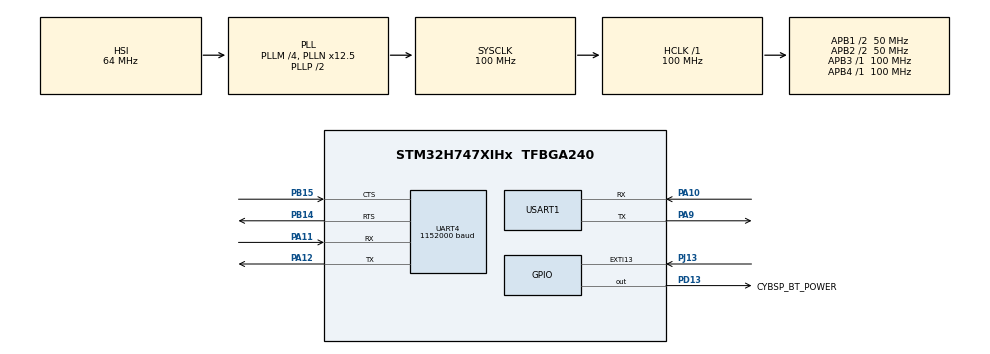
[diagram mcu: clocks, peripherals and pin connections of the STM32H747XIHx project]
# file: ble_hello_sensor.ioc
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CORTEX_M7.CPU_DCache=Enabled
CORTEX_M7.CPU_ICache=Enabled
CortexM4.IPs=BDMA,DMA,FATFS_M4\:I,FREERTOS_M4\:I,IWDG2\:I,MDMA,NVIC2\:I,RCC,USB_DEVICE_M4\:I,USB_HOST_M4\:I,WWDG2\:I,DEBUG,PDM2PCM_M4\:I,PWR,RESMGR_UTILITY,SYS_M4\:I,CORTEX_M4\:I,OPENAMP_M4\:I,VREFBUF,GPIO
CortexM7.IPs=BDMA\:I,DMA\:I,FATFS_M7\:I,FREERTOS_M7\:I,IWDG1\:I,MDMA\:I,NVIC1\:I,RCC\:I,USB_DEVICE_M7\:I,USB_HOST_M7\:I,WWDG1\:I,CORTEX_M7\:I,DEBUG\:I,PDM2PCM_M7\:I,PWR\:I,RESMGR_UTILITY\:I,SYS\:I,OPENAMP_M7\:I,VREFBUF\:I,Infineon.AIROC-Wi-Fi-Bluetooth-STM32.1.8.0_M7\:I,LPTIM1\:I,UART4\:I,USART1\:I,TIM6\:I,GPIO\:I
CortexM7.Pins=PD13
Dma.Request0=UART4_RX
Dma.Request1=UART4_TX
Dma.UART4_RX.0.Direction=DMA_PERIPH_TO_MEMORY
Dma.UART4_RX.0.EventEnable=DISABLE
Dma.UART4_RX.0.FIFOMode=DMA_FIFOMODE_DISABLE
Dma.UART4_RX.0.Instance=DMA1_Stream2
Dma.UART4_RX.0.MemDataAlignment=DMA_MDATAALIGN_BYTE
Dma.UART4_RX.0.MemInc=DMA_MINC_ENABLE
Dma.UART4_RX.0.Mode=DMA_NORMAL
Dma.UART4_RX.0.PeriphDataAlignment=DMA_PDATAALIGN_BYTE
Dma.UART4_RX.0.PeriphInc=DMA_PINC_DISABLE
Dma.UART4_RX.0.Polarity=HAL_DMAMUX_REQ_GEN_RISING
Dma.UART4_RX.0.Priority=DMA_PRIORITY_LOW
Dma.UART4_RX.0.RequestNumber=1
Dma.UART4_RX.0.SignalID=NONE
Dma.UART4_RX.0.SyncEnable=DISABLE
Dma.UART4_RX.0.SyncPolarity=HAL_DMAMUX_SYNC_NO_EVENT
Dma.UART4_RX.0.SyncRequestNumber=1
Dma.UART4_RX.0.SyncSignalID=NONE
Dma.UART4_TX.1.Direction=DMA_MEMORY_TO_PERIPH
Dma.UART4_TX.1.EventEnable=DISABLE
Dma.UART4_TX.1.FIFOMode=DMA_FIFOMODE_DISABLE
Dma.UART4_TX.1.Instance=DMA1_Stream3
Dma.UART4_TX.1.MemDataAlignment=DMA_MDATAALIGN_BYTE
Dma.UART4_TX.1.MemInc=DMA_MINC_ENABLE
Dma.UART4_TX.1.Mode=DMA_NORMAL
Dma.UART4_TX.1.PeriphDataAlignment=DMA_PDATAALIGN_BYTE
Dma.UART4_TX.1.PeriphInc=DMA_PINC_DISABLE
Dma.UART4_TX.1.Polarity=HAL_DMAMUX_REQ_GEN_RISING
Dma.UART4_TX.1.Priority=DMA_PRIORITY_LOW
Dma.UART4_TX.1.RequestNumber=1
Dma.UART4_TX.1.SignalID=NONE
Dma.UART4_TX.1.SyncEnable=DISABLE
Dma.UART4_TX.1.SyncPolarity=HAL_DMAMUX_SYNC_NO_EVENT
Dma.UART4_TX.1.SyncRequestNumber=1
Dma.UART4_TX.1.SyncSignalID=NONE
FREERTOS_M7.Tasks01=defaultTask,24,128,StartDefaultTask,Default,NULL,Dynamic,NULL,NULL
Infineon.AIROC-Wi-Fi-Bluetooth-STM32.1.8.0_M7.CYBSP_BT_HOST_WAKE=PB8
Infineon.AIROC-Wi-Fi-Bluetooth-STM32.1.8.0_M7.CYBSP_BT_POWER=PD13
Infineon.AIROC-Wi-Fi-Bluetooth-STM32.1.8.0_M7.CYBSP_BT_UART_CTS=PB15
Infineon.AIROC-Wi-Fi-Bluetooth-STM32.1.8.0_M7.CYBSP_BT_UART_RTS=PB14
Infineon.AIROC-Wi-Fi-Bluetooth-STM32.1.8.0_M7.CYBSP_BT_UART_RX=PA11
Infineon.AIROC-Wi-Fi-Bluetooth-STM32.1.8.0_M7.CYBSP_BT_UART_TX=PA12
Infineon.AIROC-Wi-Fi-Bluetooth-STM32.1.8.0_M7.ConnectivityCcWirelessJjBluetoothJjbtstack=BLEIiHARDFP
Infineon.AIROC-Wi-Fi-Bluetooth-STM32.1.8.0_M7.ConnectivityCcWirelessJjBluetoothJjbtstackAaintegration=true
Infineon.AIROC-Wi-Fi-Bluetooth-STM32.1.8.0_M7.ConnectivityCcWirelessJjPlatformJjabstractionAartos=FreeRTOS
Infineon.AIROC-Wi-Fi-Bluetooth-STM32.1.8.0_M7.ConnectivityCcWirelessJjPlatformJjdevice=CYW43012
Infineon.AIROC-Wi-Fi-Bluetooth-STM32.1.8.0_M7.ConnectivityCcWirelessJjPlatformJjmodule=MURATAAa1LV
Infineon.AIROC-Wi-Fi-Bluetooth-STM32.1.8.0_M7.ConnectivityCcWirelessJjPlatformJjpal=true
Infineon.AIROC-Wi-Fi-Bluetooth-STM32.1.8.0_M7.ConnectivityCcWirelessJjPlatformJjwifiAanvramAaconfiguration=MURATAAa1LV
Mcu.Family=STM32H7
Mcu.Name=STM32H747XIHx
Mcu.Package=TFBGA240
NVIC1.DMA1_Stream2_IRQn=true\:6\:0\:true\:false\:true\:true\:false\:true\:true
NVIC1.DMA1_Stream3_IRQn=true\:6\:0\:true\:false\:true\:true\:false\:true\:true
NVIC1.LPTIM1_IRQn=true\:5\:0\:false\:false\:true\:true\:true\:true\:true
NVIC1.PriorityGroup=NVIC_PRIORITYGROUP_4
NVIC1.TIM6_DAC_IRQn=true\:0\:0\:false\:false\:true\:false\:false\:true\:true
NVIC1.TimeBase=TIM6_DAC_IRQn
NVIC1.TimeBaseIP=TIM6
NVIC1.UART4_IRQn=true\:5\:0\:false\:false\:true\:true\:true\:true\:true
NVIC2.PriorityGroup=NVIC_PRIORITYGROUP_4
PA0.PinAttribute=CortexM7
PA0.Signal=USART2_CTS
PA10.Mode=Asynchronous
PA10.PinAttribute=CortexM7
PA10.Signal=USART1_RX
PA11.Mode=Asynchronous
PA11.PinAttribute=CortexM7
PA11.Signal=UART4_RX
PA12.Mode=Asynchronous
PA12.PinAttribute=CortexM7
PA12.Signal=UART4_TX
PA13\ (JTMS/SWDIO).Mode=Serial_Wire
PA13\ (JTMS/SWDIO).PinAttribute=CortexM7
PA13\ (JTMS/SWDIO).Signal=DEBUG_JTMS-SWDIO
PA14\ (JTCK/SWCLK).Mode=Serial_Wire
PA14\ (JTCK/SWCLK).PinAttribute=CortexM7
PA14\ (JTCK/SWCLK).Signal=DEBUG_JTCK-SWCLK
PA9.Mode=Asynchronous
PA9.PinAttribute=CortexM7
PA9.Signal=USART1_TX
PB14.Mode=CTS_RTS
PB14.PinAttribute=CortexM7
PB14.Signal=UART4_RTS
PB15.Mode=CTS_RTS
PB15.PinAttribute=CortexM7
PB15.Signal=UART4_CTS
PC14-OSC32_IN\ (OSC32_IN).Mode=LSE-External-Oscillator
PC14-OSC32_IN\ (OSC32_IN).PinAttribute=CortexM7
PC14-OSC32_IN\ (OSC32_IN).Signal=RCC_OSC32_IN
PC15-OSC32_OUT\ (OSC32_OUT).Mode=LSE-External-Oscillator
PC15-OSC32_OUT\ (OSC32_OUT).PinAttribute=CortexM7
PC15-OSC32_OUT\ (OSC32_OUT).Signal=RCC_OSC32_OUT
PD13.GPIO_Label=CYBSP_BT_POWER
PD13.GPIO_ModeDefaultOutputPP=GPIO_MODE_OUTPUT_PP
PD13.PinAttribute=CortexM7
PD13.Signal=GPIO_Output
PH0-OSC_IN\ (PH0).Mode=HSE-External-Oscillator
PH0-OSC_IN\ (PH0).PinAttribute=CortexM7
PH0-OSC_IN\ (PH0).Signal=RCC_OSC_IN
PH1-OSC_OUT\ (PH1).Mode=HSE-External-Oscillator
PH1-OSC_OUT\ (PH1).PinAttribute=CortexM7
PH1-OSC_OUT\ (PH1).Signal=RCC_OSC_OUT
PJ13.PinAttribute=Free
PJ13.Signal=GPXTI13
PJ8.PinAttribute=CortexM4
PJ8.Signal=UART8_TX
PJ9.PinAttribute=CortexM4
PJ9.Signal=UART8_RX
ProjectManager.HeapSize=M4-0x100,M7-0x9000
ProjectManager.StackSize=M4-0x100,M7-0x800
ProjectManager.TargetToolchain=STM32CubeIDE
RCC.ADCFreq_Value=75000000
RCC.APB1Freq_Value=50000000
RCC.APB2Freq_Value=50000000
RCC.APB3Freq_Value=100000000
RCC.APB4Freq_Value=100000000
RCC.CortexFreq_Value=100000000
RCC.D2PPRE1=RCC_APB1_DIV2
RCC.D2PPRE2=RCC_APB2_DIV2
RCC.DIVM1=4
RCC.DIVM2=4
RCC.DIVN1=12
RCC.DIVN2=9
RCC.DIVQ1=6
RCC.DIVQ2=3
RCC.DIVR2=3
RCC.FLatency-AdvancedSettings=FLASH_LATENCY_0
RCC.HCLKFreq_Value=100000000
RCC.HSE_VALUE=25000000
RCC.HSIKERON=false
RCC.LPTIM1CLockSelection=RCC_LPTIM1CLKSOURCE_LSE
RCC.MSIAutoCalibration=DISABLED
RCC.MSICalibrationValue=16
RCC.MSIKERON=false
RCC.MSIPLLFAST=false
RCC.PLL1MBOOST=RCC_PLLMBOOST_DIV1
RCC.PLL1_VCI_Range-AdvancedSettings=RCC_PLL1VCIRANGE_0
RCC.PLL1_VCO_SEL-AdvancedSettings=RCC_PLL1VCOMEDIUM
RCC.PLL2FRACN=3072
RCC.PLL2_VCI_Range-AdvancedSettings=RCC_PLL2VCIRANGE_1
RCC.PLL2_VCO_SEL-AdvancedSettings=RCC_PLL2VCOMEDIUM
RCC.PLL3FRACN=0
RCC.PLL3_VCI_Range-AdvancedSettings=RCC_PLL3VCIRANGE_0
RCC.PLL3_VCO_SEL-AdvancedSettings=RCC_PLL3VCOMEDIUM
RCC.PLLFRACN=4096
RCC.SDMMC1CLockSelection=RCC_SDMMCCLKSOURCE_PLL2
RCC.SYSCLKFreq_VALUE=100000000
RCC.SYSCLKSource=RCC_SYSCLKSOURCE_PLLCLK
RCC.SupplySource=PWR_DIRECT_SMPS_SUPPLY
RCC.USBFreq_Value=33333333.333333332
UART4.BaudRate=1152000
UART4.FIFOMode=FIFOMODE_DISABLE
USART1.VirtualMode-Asynchronous=VM_ASYNC
VP_FREERTOS_M7_VS_CMSIS_V2.Mode=CMSIS_V2
VP_Infineon.AIROC-Wi-Fi-Bluetooth-STM32_M7_VS_WirelessJjConnectivity_1.8.0_1.8.0.Mode=WirelessJjConnectivity
VP_LPTIM1_VS_LPTIM_counterModeInternalClock.Mode=Counts__internal_clock_event_00
VP_SYS_M4_VS_Systick.Mode=SysTick
VP_SYS_VS_tim6.Mode=TIM6
board=STM32H747I-DISCO

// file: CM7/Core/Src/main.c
/* USER CODE BEGIN Header */
/**
  ******************************************************************************
  * @file           : main.c
  * @brief          : Main program body
  ******************************************************************************
  * @attention
  *
  * <h2><center>&copy; Copyright (c) 2021 STMicroelectronics.
  * All rights reserved.</center></h2>
  *
  * This software component is licensed by ST under Ultimate Liberty license
  * SLA0044, the "License"; You may not use this file except in compliance with
  * the License. You may obtain a copy of the License at:
  *                             www.st.com/SLA0044
  *
  ******************************************************************************
  */
/* USER CODE END Header */
#include "main.h"
#include "cmsis_os.h"

/* USER CODE BEGIN Includes */
#include "cyhal_sdio.h"
#include "stm32_cyhal_sdio_ex.h"
#include "stm32_cyhal_gpio_ex.h"

#include "wifi_bt_if.h"

#include "cybsp.h"
#include "cyhal.h"
#include "cyabs_rtos.h"

#include "wiced_bt_stack.h"
#include "wiced_memory.h"
#include "wiced_bt_dev.h"

#include <app_platform_cfg.h>
#include "cybt_platform_trace.h"

#include "cy_utils.h"
#include "stdio.h"

/* USER CODE END Includes */

/* USER CODE BEGIN PD */
#ifndef HSEM_ID_0
#define HSEM_ID_0 (0U) /* HW semaphore 0*/
#endif
/* USER CODE END PD */

LPTIM_HandleTypeDef hlptim1;

UART_HandleTypeDef huart4;
UART_HandleTypeDef huart1;
DMA_HandleTypeDef hdma_uart4_rx;
DMA_HandleTypeDef hdma_uart4_tx;

/* Definitions for defaultTask */
osThreadId_t defaultTaskHandle;
const osThreadAttr_t defaultTask_attributes = {
  .name = "defaultTask",
  .stack_size = 128 * 4,
  .priority = (osPriority_t) osPriorityNormal,
};

void SystemClock_Config(void);
static void MX_GPIO_Init(void);
static void MX_DMA_Init(void);
static void MX_LPTIM1_Init(void);
static void MX_UART4_Init(void);
static void MX_USART1_UART_Init(void);
void StartDefaultTask(void *argument);

/* USER CODE BEGIN PFP */
extern void application_start( void );

/* USER CODE END PFP */

int main(void)
{
/* USER CODE BEGIN Boot_Mode_Sequence_0 */
  int32_t timeout;
/* USER CODE END Boot_Mode_Sequence_0 */

  /* Enable I-Cache---------------------------------------------------------*/
  SCB_EnableICache();

  /* Enable D-Cache---------------------------------------------------------*/
  SCB_EnableDCache();

/* USER CODE BEGIN Boot_Mode_Sequence_1 */
  /* Wait until CPU2 boots and enters in stop mode or timeout*/
  timeout = 0xFFFF;
  while((__HAL_RCC_GET_FLAG(RCC_FLAG_D2CKRDY) != RESET) && (timeout-- > 0));
  if ( timeout < 0 )
  {
  Error_Handler();
  }
/* USER CODE END Boot_Mode_Sequence_1 */
  /* MCU Configuration--------------------------------------------------------*/

  /* Reset of all peripherals, Initializes the Flash interface and the Systick. */
  HAL_Init();

  /* Configure the system clock */
  SystemClock_Config();
/* USER CODE BEGIN Boot_Mode_Sequence_2 */
/* When system initialization is finished, Cortex-M7 will release Cortex-M4 by means of
HSEM notification */
/*HW semaphore Clock enable*/
__HAL_RCC_HSEM_CLK_ENABLE();
/*Take HSEM */
HAL_HSEM_FastTake(HSEM_ID_0);
/*Release HSEM in order to notify the CPU2(CM4)*/
HAL_HSEM_Release(HSEM_ID_0,0);
/* wait until CPU2 wakes up from stop mode */
timeout = 0xFFFF;
while((__HAL_RCC_GET_FLAG(RCC_FLAG_D2CKRDY) == RESET) && (timeout-- > 0));
if ( timeout < 0 )
{
Error_Handler();
}
/* USER CODE END Boot_Mode_Sequence_2 */

  /* Initialize all configured peripherals */
  MX_GPIO_Init();
  MX_DMA_Init();
  MX_LPTIM1_Init();
  MX_UART4_Init();
  MX_USART1_UART_Init();
  /* USER CODE BEGIN 2 */

  /* PAL init */
  stm32_cypal_bt_init(&huart4, &hlptim1);

  /* configure BLE Platform */
  cybt_platform_config_init(&bt_platform_cfg_settings);

  /* Start BLE application */
  application_start();

  /* USER CODE END 2 */

  /* Init scheduler */
  osKernelInitialize();

  /* Create the thread(s) */
  /* creation of defaultTask */
  defaultTaskHandle = osThreadNew(StartDefaultTask, NULL, &defaultTask_attributes);

  /* Start scheduler */
  osKernelStart();
  /* We should never get here as control is now taken by the scheduler */
  /* Infinite loop */
  while (1)
  {

  }
}

void SystemClock_Config(void)
{
  RCC_OscInitTypeDef RCC_OscInitStruct = {0};
  RCC_ClkInitTypeDef RCC_ClkInitStruct = {0};

  /** Supply configuration update enable
  */
  HAL_PWREx_ConfigSupply(PWR_DIRECT_SMPS_SUPPLY);

  /** Configure the main internal regulator output voltage
  */
  __HAL_PWR_VOLTAGESCALING_CONFIG(PWR_REGULATOR_VOLTAGE_SCALE3);

  while(!__HAL_PWR_GET_FLAG(PWR_FLAG_VOSRDY)) {}

  /** Configure LSE Drive Capability
  */
  HAL_PWR_EnableBkUpAccess();
  __HAL_RCC_LSEDRIVE_CONFIG(RCC_LSEDRIVE_LOW);

  /** Initializes the RCC Oscillators according to the specified parameters
  * in the RCC_OscInitTypeDef structure.
  */
  RCC_OscInitStruct.OscillatorType = RCC_OSCILLATORTYPE_HSI|RCC_OSCILLATORTYPE_LSE;
  RCC_OscInitStruct.LSEState = RCC_LSE_ON;
  RCC_OscInitStruct.HSIState = RCC_HSI_DIV1;
  RCC_OscInitStruct.HSICalibrationValue = RCC_HSICALIBRATION_DEFAULT;
  RCC_OscInitStruct.PLL.PLLState = RCC_PLL_ON;
  RCC_OscInitStruct.PLL.PLLSource = RCC_PLLSOURCE_HSI;
  RCC_OscInitStruct.PLL.PLLM = 4;
  RCC_OscInitStruct.PLL.PLLN = 12;
  RCC_OscInitStruct.PLL.PLLP = 2;
  RCC_OscInitStruct.PLL.PLLQ = 6;
  RCC_OscInitStruct.PLL.PLLR = 2;
  RCC_OscInitStruct.PLL.PLLRGE = RCC_PLL1VCIRANGE_3;
  RCC_OscInitStruct.PLL.PLLVCOSEL = RCC_PLL1VCOMEDIUM;
  RCC_OscInitStruct.PLL.PLLFRACN = 4096;
  if (HAL_RCC_OscConfig(&RCC_OscInitStruct) != HAL_OK)
  {
    Error_Handler();
  }

  /** Initializes the CPU, AHB and APB buses clocks
  */
  RCC_ClkInitStruct.ClockType = RCC_CLOCKTYPE_HCLK|RCC_CLOCKTYPE_SYSCLK
                              |RCC_CLOCKTYPE_PCLK1|RCC_CLOCKTYPE_PCLK2
                              |RCC_CLOCKTYPE_D3PCLK1|RCC_CLOCKTYPE_D1PCLK1;
  RCC_ClkInitStruct.SYSCLKSource = RCC_SYSCLKSOURCE_PLLCLK;
  RCC_ClkInitStruct.SYSCLKDivider = RCC_SYSCLK_DIV1;
  RCC_ClkInitStruct.AHBCLKDivider = RCC_HCLK_DIV1;
  RCC_ClkInitStruct.APB3CLKDivider = RCC_APB3_DIV1;
  RCC_ClkInitStruct.APB1CLKDivider = RCC_APB1_DIV2;
  RCC_ClkInitStruct.APB2CLKDivider = RCC_APB2_DIV2;
  RCC_ClkInitStruct.APB4CLKDivider = RCC_APB4_DIV1;

  if (HAL_RCC_ClockConfig(&RCC_ClkInitStruct, FLASH_LATENCY_2) != HAL_OK)
  {
    Error_Handler();
  }
}

static void MX_LPTIM1_Init(void)
{

  hlptim1.Instance = LPTIM1;
  hlptim1.Init.Clock.Source = LPTIM_CLOCKSOURCE_APBCLOCK_LPOSC;
  hlptim1.Init.Clock.Prescaler = LPTIM_PRESCALER_DIV1;
  hlptim1.Init.Trigger.Source = LPTIM_TRIGSOURCE_SOFTWARE;
  hlptim1.Init.OutputPolarity = LPTIM_OUTPUTPOLARITY_HIGH;
  hlptim1.Init.UpdateMode = LPTIM_UPDATE_IMMEDIATE;
  hlptim1.Init.CounterSource = LPTIM_COUNTERSOURCE_INTERNAL;
  hlptim1.Init.Input1Source = LPTIM_INPUT1SOURCE_GPIO;
  hlptim1.Init.Input2Source = LPTIM_INPUT2SOURCE_GPIO;
  if (HAL_LPTIM_Init(&hlptim1) != HAL_OK)
  {
    Error_Handler();
  }

}

static void MX_UART4_Init(void)
{

  huart4.Instance = UART4;
  huart4.Init.BaudRate = 1152000;
  huart4.Init.WordLength = UART_WORDLENGTH_8B;
  huart4.Init.StopBits = UART_STOPBITS_1;
  huart4.Init.Parity = UART_PARITY_NONE;
  huart4.Init.Mode = UART_MODE_TX_RX;
  huart4.Init.HwFlowCtl = UART_HWCONTROL_RTS_CTS;
  huart4.Init.OverSampling = UART_OVERSAMPLING_16;
  huart4.Init.OneBitSampling = UART_ONE_BIT_SAMPLE_DISABLE;
  huart4.Init.ClockPrescaler = UART_PRESCALER_DIV1;
  huart4.AdvancedInit.AdvFeatureInit = UART_ADVFEATURE_NO_INIT;
  if (HAL_UART_Init(&huart4) != HAL_OK)
  {
    Error_Handler();
  }
  if (HAL_UARTEx_SetTxFifoThreshold(&huart4, UART_TXFIFO_THRESHOLD_1_8) != HAL_OK)
  {
    Error_Handler();
  }
  if (HAL_UARTEx_SetRxFifoThreshold(&huart4, UART_RXFIFO_THRESHOLD_1_8) != HAL_OK)
  {
    Error_Handler();
  }
  if (HAL_UARTEx_DisableFifoMode(&huart4) != HAL_OK)
  {
    Error_Handler();
  }

}

static void MX_USART1_UART_Init(void)
{

  huart1.Instance = USART1;
  huart1.Init.BaudRate = 115200;
  huart1.Init.WordLength = UART_WORDLENGTH_8B;
  huart1.Init.StopBits = UART_STOPBITS_1;
  huart1.Init.Parity = UART_PARITY_NONE;
  huart1.Init.Mode = UART_MODE_TX_RX;
  huart1.Init.HwFlowCtl = UART_HWCONTROL_NONE;
  huart1.Init.OverSampling = UART_OVERSAMPLING_16;
  huart1.Init.OneBitSampling = UART_ONE_BIT_SAMPLE_DISABLE;
  huart1.Init.ClockPrescaler = UART_PRESCALER_DIV1;
  huart1.AdvancedInit.AdvFeatureInit = UART_ADVFEATURE_NO_INIT;
  if (HAL_UART_Init(&huart1) != HAL_OK)
  {
    Error_Handler();
  }
  if (HAL_UARTEx_SetTxFifoThreshold(&huart1, UART_TXFIFO_THRESHOLD_1_8) != HAL_OK)
  {
    Error_Handler();
  }
  if (HAL_UARTEx_SetRxFifoThreshold(&huart1, UART_RXFIFO_THRESHOLD_1_8) != HAL_OK)
  {
    Error_Handler();
  }
  if (HAL_UARTEx_DisableFifoMode(&huart1) != HAL_OK)
  {
    Error_Handler();
  }

}

static void MX_DMA_Init(void)
{

  /* DMA controller clock enable */
  __HAL_RCC_DMA1_CLK_ENABLE();

  /* DMA interrupt init */
  /* DMA1_Stream2_IRQn interrupt configuration */
  HAL_NVIC_SetPriority(DMA1_Stream2_IRQn, 6, 0);
  HAL_NVIC_EnableIRQ(DMA1_Stream2_IRQn);
  /* DMA1_Stream3_IRQn interrupt configuration */
  HAL_NVIC_SetPriority(DMA1_Stream3_IRQn, 6, 0);
  HAL_NVIC_EnableIRQ(DMA1_Stream3_IRQn);

}

static void MX_GPIO_Init(void)
{
  GPIO_InitTypeDef GPIO_InitStruct = {0};

  /* GPIO Ports Clock Enable */
  __HAL_RCC_GPIOA_CLK_ENABLE();
  __HAL_RCC_GPIOC_CLK_ENABLE();
  __HAL_RCC_GPIOH_CLK_ENABLE();
  __HAL_RCC_GPIOD_CLK_ENABLE();
  __HAL_RCC_GPIOB_CLK_ENABLE();

  /*Configure GPIO pin Output Level */
  HAL_GPIO_WritePin(CYBSP_BT_POWER_GPIO_Port, CYBSP_BT_POWER_Pin, GPIO_PIN_RESET);

  /*Configure GPIO pin : CYBSP_BT_POWER_Pin */
  GPIO_InitStruct.Pin = CYBSP_BT_POWER_Pin;
  GPIO_InitStruct.Mode = GPIO_MODE_OUTPUT_PP;
  GPIO_InitStruct.Pull = GPIO_NOPULL;
  GPIO_InitStruct.Speed = GPIO_SPEED_FREQ_LOW;
  HAL_GPIO_Init(CYBSP_BT_POWER_GPIO_Port, &GPIO_InitStruct);

}

/* USER CODE BEGIN 4 */
#ifdef __GNUC__
    /* With GCC/RAISONANCE, small printf (option LD Linker->Libraries->Small printf
       set to 'Yes') calls __io_putchar() */
    /***************************************************************************
    * Function Name: __io_putchar (GCC)
    ***************************************************************************/
    int __io_putchar(int ch)
    {
      HAL_UART_Transmit(&huart1, (uint8_t *)&ch, 1, 0xFFFF);
      return ch;
    }
#elif defined (__ICCARM__) /* IAR */
    #include <yfuns.h>

    /***************************************************************************
    * Function Name: __write (IAR)
    ***************************************************************************/
    size_t __write(int handle, const unsigned char * buffer, size_t size)
    {
        size_t nChars = 0;
        /* This template only writes to "standard out", for all other file
         * handles it returns failure. */
        if (handle != _LLIO_STDOUT)
        {
            return (_LLIO_ERROR);
        }
        if (buffer != NULL)
        {
            for (/* Empty */; nChars < size; ++nChars)
            {
                HAL_UART_Transmit(&huart1, (uint8_t *)buffer, 1, 0xFFFF);
                ++buffer;
            }
        }
        return (nChars);
    }
#endif /* __GNUC__ */
/* USER CODE END 4 */

void StartDefaultTask(void *argument)
{
  for(;;)
  {
    osDelay(1);
  }
}

void HAL_TIM_PeriodElapsedCallback(TIM_HandleTypeDef *htim)
{
  if (htim->Instance == TIM6) {
    HAL_IncTick();
  }
}

void Error_Handler(void)
{
  __disable_irq();
  while (1)
  {
  }
}
